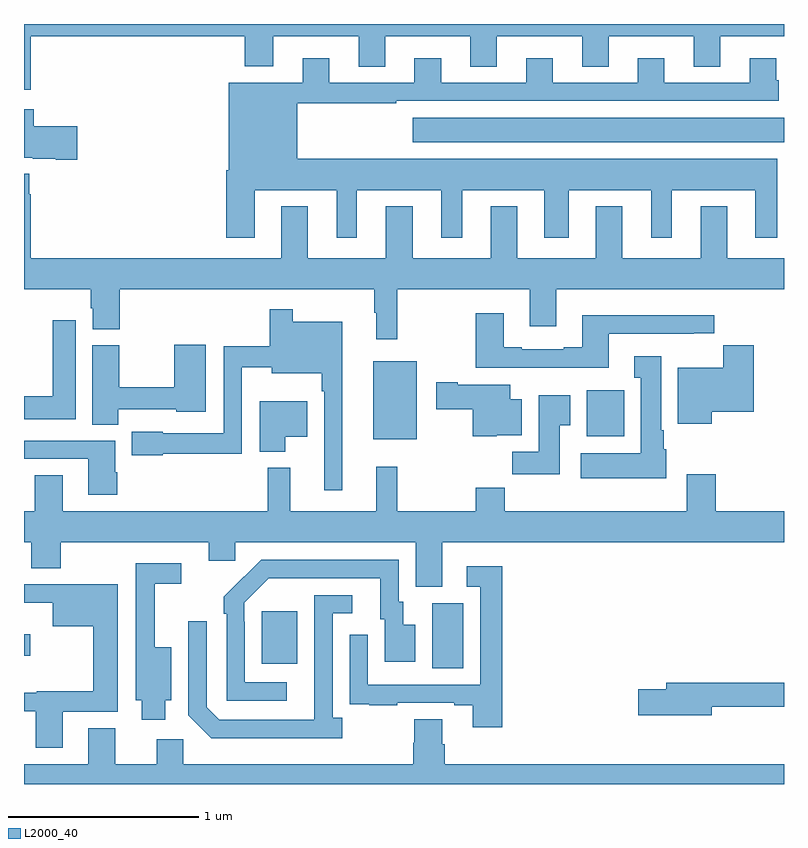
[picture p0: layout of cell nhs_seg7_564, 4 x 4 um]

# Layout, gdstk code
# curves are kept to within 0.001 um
import gdstk
lib = gdstk.Library(unit=1e-6, precision=1e-09)
def R(c, l, rs):  # rectangles x0, y0, x1, y1
    for r in rs: c.add(gdstk.rectangle(r[:2], r[2:], *l))
def P(c, l, *ps):  # polygons
    for p in ps: c.add(gdstk.Polygon(p, *l))
L2000_40 = (2000, 40)

nhs_seg7_564 = lib.new_cell('nhs_seg7_564')
R(nhs_seg7_564, L2000_40, [(157.148,1010.608,157.312,1010.952), (156.251,1010.633,156.439,1010.908), (155,1010.675,155.032,1010.788), (156.839,1011.815,157.066,1012.225), (157.961,1011.83,158.158,1012.072), (157.047,1013.378,159,1013.506)])
P(nhs_seg7_564, L2000_40, [(155.035,1013.936),(156.161,1013.936),(156.161,1013.777),(156.313,1013.777),(156.313,1013.936),(156.761,1013.936),(156.761,1013.776),(156.901,1013.776),(156.901,1013.936),(157.349,1013.936),(157.349,1013.776),(157.489,1013.776),(157.489,1013.936),(157.937,1013.936),(157.937,1013.776),(158.077,1013.776),(158.077,1013.936),(158.525,1013.936),(158.525,1013.776),(158.665,1013.776),(158.665,1013.936),(159,1013.936),(159,1014),(155,1014),(155,1013.655),(155.035,1013.655)],
  [(156.214,1013.126),(156.647,1013.126),(156.647,1012.875),(156.751,1012.875),(156.751,1013.126),(157.196,1013.126),(157.196,1012.875),(157.306,1012.875),(157.306,1013.126),(157.739,1013.126),(157.739,1012.875),(157.867,1012.875),(157.867,1013.126),(158.3,1013.126),(158.3,1012.875),(158.41,1012.875),(158.41,1013.126),(158.849,1013.126),(158.849,1012.875),(158.965,1012.875),(158.965,1013.29),(156.439,1013.29),(156.439,1013.583),(156.959,1013.583),(156.959,1013.595),(158.972,1013.595),(158.972,1013.703),(158.959,1013.703),(158.959,1013.821),(158.819,1013.821),(158.819,1013.691),(158.371,1013.691),(158.371,1013.821),(158.231,1013.821),(158.231,1013.691),(157.783,1013.691),(157.783,1013.821),(157.643,1013.821),(157.643,1013.691),(157.195,1013.691),(157.195,1013.821),(157.055,1013.821),(157.055,1013.691),(156.607,1013.691),(156.607,1013.821),(156.467,1013.821),(156.467,1013.692),(156.077,1013.692),(156.077,1013.23),(156.065,1013.23),(156.065,1012.875),(156.214,1012.875)],
  [(155.281,1013.463),(155.05,1013.463),(155.05,1013.551),(155,1013.551),(155,1013.297),(155.046,1013.297),(155.046,1013.291),(155.168,1013.291),(155.168,1013.285),(155.281,1013.285)],
  [(156.964,1012.604),(157.661,1012.604),(157.661,1012.41),(157.801,1012.41),(157.801,1012.604),(159,1012.604),(159,1012.768),(158.701,1012.768),(158.701,1013.041),(158.561,1013.041),(158.561,1012.768),(158.149,1012.768),(158.149,1013.041),(158.009,1013.041),(158.009,1012.768),(157.597,1012.768),(157.597,1013.041),(157.457,1013.041),(157.457,1012.768),(157.045,1012.768),(157.045,1013.041),(156.905,1013.041),(156.905,1012.768),(156.493,1012.768),(156.493,1013.041),(156.353,1013.041),(156.353,1012.768),(155.035,1012.768),(155.035,1013.105),(155.027,1013.105),(155.027,1013.212),(155,1013.212),(155,1012.604),(155.351,1012.604),(155.351,1012.503),(155.363,1012.503),(155.363,1012.393),(155.504,1012.393),(155.504,1012.604),(156.843,1012.604),(156.843,1012.481),(156.854,1012.481),(156.854,1012.341),(156.964,1012.341)],
  [(156.676,1012.432),(156.415,1012.432),(156.415,1012.498),(156.294,1012.498),(156.294,1012.303),(156.051,1012.303),(156.051,1011.846),(155.73,1011.846),(155.73,1011.855),(155.568,1011.855),(155.568,1011.73),(155.73,1011.73),(155.73,1011.738),(156.147,1011.738),(156.147,1012.193),(156.305,1012.193),(156.305,1012.163),(156.567,1012.163),(156.567,1012.067),(156.579,1012.067),(156.579,1011.546),(156.676,1011.546)],
  [(158.077,1012.371),(158.525,1012.371),(158.525,1012.373),(158.634,1012.373),(158.634,1012.468),(157.937,1012.468),(157.937,1012.3),(157.841,1012.3),(157.841,1012.287),(157.621,1012.287),(157.621,1012.3),(157.525,1012.3),(157.525,1012.477),(157.378,1012.477),(157.378,1012.19),(158.077,1012.19)],
  [(155.272,1012.441),(155.15,1012.441),(155.15,1012.042),(155,1012.042),(155,1011.92),(155.272,1011.92)],
  [(155.496,1011.972),(155.802,1011.972),(155.802,1011.959),(155.956,1011.959),(155.956,1012.312),(155.791,1012.312),(155.791,1012.088),(155.502,1012.088),(155.502,1012.308),(155.36,1012.308),(155.36,1011.892),(155.496,1011.892)],
  [(158.62,1011.959),(158.842,1011.959),(158.842,1012.308),(158.681,1012.308),(158.681,1012.192),(158.441,1012.192),(158.441,1011.896),(158.62,1011.896)],
  [(158.38,1011.762),(158.368,1011.762),(158.368,1011.862),(158.353,1011.862),(158.353,1012.252),(158.213,1012.252),(158.213,1012.139),(158.246,1012.139),(158.246,1011.742),(157.929,1011.742),(157.929,1011.608),(158.38,1011.608)],
  [(157.488,1011.836),(157.621,1011.836),(157.621,1012.024),(157.558,1012.024),(157.558,1012.102),(157.282,1012.102),(157.282,1012.115),(157.17,1012.115),(157.17,1011.973),(157.363,1011.973),(157.363,1011.83),(157.488,1011.83)],
  [(157.819,1011.889),(157.876,1011.889),(157.876,1012.045),(157.709,1012.045),(157.709,1011.748),(157.57,1011.748),(157.57,1011.63),(157.819,1011.63)],
  [(156.376,1011.827),(156.49,1011.827),(156.49,1012.015),(156.242,1012.015),(156.242,1011.749),(156.376,1011.749)],
  [(155.492,1011.641),(155.479,1011.641),(155.479,1011.807),(155,1011.807),(155,1011.711),(155.339,1011.711),(155.339,1011.522),(155.492,1011.522)],
  [(157.201,1011.272),(159,1011.272),(159,1011.436),(158.642,1011.436),(158.642,1011.631),(158.489,1011.631),(158.489,1011.436),(157.529,1011.436),(157.529,1011.56),(157.378,1011.56),(157.378,1011.436),(156.964,1011.436),(156.964,1011.67),(156.854,1011.67),(156.854,1011.436),(156.401,1011.436),(156.401,1011.664),(156.283,1011.664),(156.283,1011.436),(155.203,1011.436),(155.203,1011.626),(155.056,1011.626),(155.056,1011.436),(155,1011.436),(155,1011.272),(155.038,1011.272),(155.038,1011.136),(155.193,1011.136),(155.193,1011.272),(155.972,1011.272),(155.972,1011.174),(156.111,1011.174),(156.111,1011.272),(157.061,1011.272),(157.061,1011.037),(157.201,1011.037)],
  [(156.382,1010.535),(156.162,1010.535),(156.162,1010.855),(156.159,1010.855),(156.159,1010.955),(156.288,1011.084),(156.875,1011.084),(156.875,1010.868),(156.899,1010.868),(156.899,1010.643),(157.06,1010.643),(157.06,1010.839),(156.997,1010.839),(156.997,1010.958),(156.972,1010.958),(156.972,1011.18),(156.248,1011.18),(156.051,1010.985),(156.051,1010.897),(156.066,1010.897),(156.066,1010.439),(156.382,1010.439)],
  [(155.743,1010.441),(155.776,1010.441),(155.776,1010.719),(155.687,1010.719),(155.687,1011.054),(155.827,1011.054),(155.827,1011.162),(155.589,1011.162),(155.589,1010.441),(155.621,1010.441),(155.621,1010.339),(155.743,1010.339)],
  [(157.517,1011.145),(157.329,1011.145),(157.329,1011.039),(157.401,1011.039),(157.401,1010.523),(156.81,1010.523),(156.81,1010.785),(156.714,1010.785),(156.714,1010.53),(156.715,1010.53),(156.715,1010.421),(156.817,1010.421),(156.817,1010.415),(156.965,1010.415),(156.965,1010.427),(157.265,1010.427),(157.265,1010.415),(157.361,1010.415),(157.361,1010.298),(157.517,1010.298)],
  [(155.203,1010.379),(155.494,1010.379),(155.494,1011.052),(155.254,1011.052),(155.254,1011.051),(155,1011.051),(155,1010.954),(155.15,1010.954),(155.15,1010.831),(155.365,1010.831),(155.365,1010.488),(155.067,1010.488),(155.067,1010.479),(155,1010.479),(155,1010.382),(155.063,1010.382),(155.063,1010.19),(155.203,1010.19)],
  [(156.676,1010.35),(156.624,1010.35),(156.624,1010.898),(156.727,1010.898),(156.727,1010.994),(156.528,1010.994),(156.527,1010.337),(156.027,1010.337),(155.961,1010.403),(155.961,1010.857),(155.865,1010.857),(155.865,1010.361),(155.986,1010.24),(156.676,1010.24)],
  [(158.62,1010.406),(159,1010.406),(159,1010.534),(158.381,1010.534),(158.381,1010.498),(158.232,1010.498),(158.232,1010.363),(158.62,1010.363)],
  [(159,1010.104),(157.214,1010.104),(157.214,1010.21),(157.201,1010.21),(157.201,1010.342),(157.054,1010.342),(157.054,1010.217),(157.049,1010.217),(157.049,1010.104),(155.838,1010.104),(155.838,1010.236),(155.699,1010.236),(155.699,1010.104),(155.479,1010.104),(155.479,1010.294),(155.339,1010.294),(155.339,1010.104),(155,1010.104),(155,1010),(159,1010)])

lib.write_gds('nhs_seg7_564.gds')
